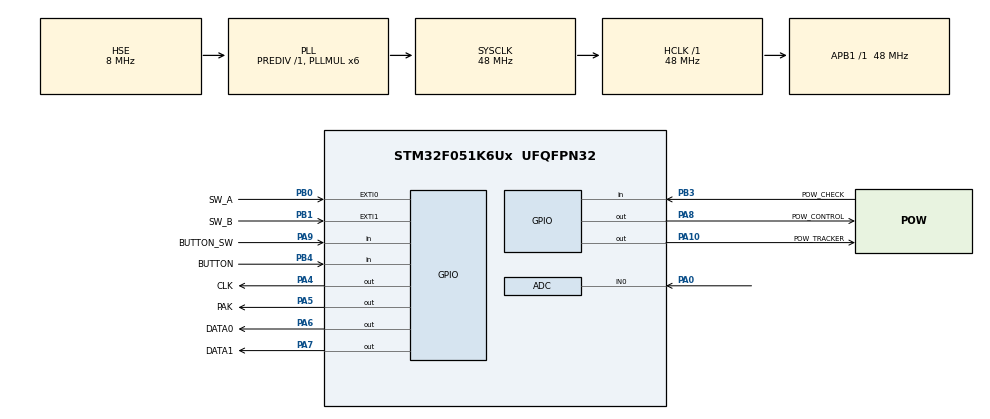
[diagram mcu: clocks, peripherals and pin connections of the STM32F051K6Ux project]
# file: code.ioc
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ADC.ClockPrescaler=ADC_CLOCK_SYNC_PCLK_DIV4
ADC.DMAContinuousRequests=DISABLE
ADC.ExternalTrigConv=ADC_EXTERNALTRIGCONV_T1_TRGO
ADC.Resolution=ADC_RESOLUTION_8B
ADC.SamplingTime=ADC_SAMPLETIME_239CYCLES_5
Mcu.Family=STM32F0
Mcu.Name=STM32F051K6Ux
Mcu.Package=UFQFPN32
NVIC.ADC1_COMP_IRQn=true\:0\:0\:false\:false\:true\:true\:true
NVIC.EXTI0_1_IRQn=true\:0\:0\:false\:false\:true\:true\:true
NVIC.TIM6_DAC_IRQn=true\:0\:0\:false\:false\:true\:true\:true
PA0.Mode=IN0
PA0.Signal=ADC_IN0
PA10.GPIO_Label=POW_TRACKER
PA10.GPIO_ModeDefaultOutputPP=GPIO_MODE_OUTPUT_PP
PA10.GPIO_PuPd=GPIO_NOPULL
PA10.GPIO_Speed=GPIO_SPEED_FREQ_LOW
PA10.PinState=GPIO_PIN_RESET
PA10.Signal=GPIO_Output
PA4.GPIO_Label=CLK
PA4.GPIO_ModeDefaultOutputPP=GPIO_MODE_OUTPUT_OD
PA4.GPIO_PuPd=GPIO_NOPULL
PA4.GPIO_Speed=GPIO_SPEED_FREQ_LOW
PA4.PinState=GPIO_PIN_RESET
PA4.Signal=GPIO_Output
PA5.GPIO_Label=PAK
PA5.GPIO_ModeDefaultOutputPP=GPIO_MODE_OUTPUT_OD
PA5.GPIO_PuPd=GPIO_NOPULL
PA5.GPIO_Speed=GPIO_SPEED_FREQ_LOW
PA5.PinState=GPIO_PIN_RESET
PA5.Signal=GPIO_Output
PA6.GPIO_Label=DATA0
PA6.GPIO_ModeDefaultOutputPP=GPIO_MODE_OUTPUT_OD
PA6.GPIO_PuPd=GPIO_NOPULL
PA6.GPIO_Speed=GPIO_SPEED_FREQ_LOW
PA6.PinState=GPIO_PIN_RESET
PA6.Signal=GPIO_Output
PA7.GPIO_Label=DATA1
PA7.GPIO_ModeDefaultOutputPP=GPIO_MODE_OUTPUT_OD
PA7.GPIO_PuPd=GPIO_NOPULL
PA7.GPIO_Speed=GPIO_SPEED_FREQ_LOW
PA7.PinState=GPIO_PIN_RESET
PA7.Signal=GPIO_Output
PA8.GPIO_Label=POW_CONTROL
PA8.GPIO_ModeDefaultOutputPP=GPIO_MODE_OUTPUT_PP
PA8.GPIO_PuPd=GPIO_NOPULL
PA8.GPIO_Speed=GPIO_SPEED_FREQ_LOW
PA8.PinState=GPIO_PIN_RESET
PA8.Signal=GPIO_Output
PA9.GPIO_Label=BUTTON_SW
PA9.GPIO_PuPd=GPIO_PULLDOWN
PA9.Signal=GPIO_Input
PB0.GPIO_Label=SW_A
PB0.GPIO_ModeDefaultEXTI=GPIO_MODE_IT_RISING_FALLING
PB0.GPIO_PuPd=GPIO_NOPULL
PB0.Signal=GPXTI0
PB1.GPIO_Label=SW_B
PB1.GPIO_ModeDefaultEXTI=GPIO_MODE_IT_RISING_FALLING
PB1.GPIO_PuPd=GPIO_NOPULL
PB1.Signal=GPXTI1
PB3.GPIO_Label=POW_CHECK
PB3.GPIO_Mode=GPIO_MODE_INPUT
PB3.GPIO_PuPd=GPIO_NOPULL
PB3.Signal=GPIO_Input
PB4.GPIO_Label=BUTTON
PB4.GPIO_Mode=GPIO_MODE_INPUT
PB4.GPIO_PuPd=GPIO_PULLDOWN
PB4.Signal=GPIO_Input
PF0-OSC_IN.Mode=HSE-External-Oscillator
PF0-OSC_IN.Signal=RCC_OSC_IN
PF1-OSC_OUT.Mode=HSE-External-Oscillator
PF1-OSC_OUT.Signal=RCC_OSC_OUT
ProjectManager.HeapSize=0x200
ProjectManager.StackSize=0x400
ProjectManager.TargetToolchain=MDK-ARM V5
RCC.AHBFreq_Value=48000000
RCC.APB1Freq_Value=48000000
RCC.APB1TimFreq_Value=48000000
RCC.HCLKFreq_Value=48000000
RCC.PLLMUL=RCC_PLL_MUL6
RCC.PLLSourceVirtual=RCC_PLLSOURCE_HSE
RCC.SYSCLKFreq_VALUE=48000000
RCC.SYSCLKSource=RCC_SYSCLKSOURCE_PLLCLK
TIM1.AutoReloadPreload=TIM_AUTORELOAD_PRELOAD_ENABLE
TIM1.Period=999
TIM1.Prescaler=48
TIM1.TIM_MasterOutputTrigger=TIM_TRGO_UPDATE
TIM6.AutoReloadPreload=TIM_AUTORELOAD_PRELOAD_ENABLE
TIM6.Period=9999
TIM6.Prescaler=4800
TIM6.TIM_MasterOutputTrigger=TIM_TRGO_RESET
VP_TIM1_VS_ClockSourceINT.Mode=Internal
VP_TIM6_VS_ClockSourceINT.Mode=Enable_Timer
board=custom

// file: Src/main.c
/* USER CODE BEGIN Header */
/**
  ******************************************************************************
  * @file           : main.c
  * @brief          : Main program body
  ******************************************************************************
  * @attention
  *
  * <h2><center>&copy; Copyright (c) 2019 STMicroelectronics.
  * All rights reserved.</center></h2>
  *
  * This software component is licensed by ST under BSD 3-Clause license,
  * the "License"; You may not use this file except in compliance with the
  * License. You may obtain a copy of the License at:
  *                        opensource.org/licenses/BSD-3-Clause
  *
  ******************************************************************************
  */
/* USER CODE END Header */

#include "main.h"

ADC_HandleTypeDef hadc;

TIM_HandleTypeDef htim1;
TIM_HandleTypeDef htim6;

void SystemClock_Config(void);
static void MX_GPIO_Init(void);
static void MX_ADC_Init(void);
static void MX_TIM1_Init(void);
static void MX_TIM6_Init(void);

/* USER CODE BEGIN 0 */
unsigned char adc_value;
unsigned char adc_sw;
char sw_value;
unsigned char sw_sw;
int count = 0;
/* USER CODE END 0 */

int main(void)
{
  /* USER CODE BEGIN 1 */
	sw_value = 0;
  /* USER CODE END 1 */

  /* MCU Configuration--------------------------------------------------------*/

  /* Reset of all peripherals, Initializes the Flash interface and the Systick. */
  HAL_Init();

  /* Configure the system clock */
  SystemClock_Config();

  /* Initialize all configured peripherals */
  MX_GPIO_Init();
  MX_ADC_Init();
  MX_TIM1_Init();
  MX_TIM6_Init();
  /* USER CODE BEGIN 2 */
	HAL_Delay(3000);
	HAL_GPIO_WritePin(POW_CONTROL_GPIO_Port,POW_CONTROL_Pin,1);
	HAL_GPIO_WritePin(POW_TRACKER_GPIO_Port,POW_TRACKER_Pin,1);
	HAL_GPIO_WritePin(CLK_GPIO_Port,CLK_Pin,0);
	HAL_GPIO_WritePin(PAK_GPIO_Port,PAK_Pin,0);
	HAL_GPIO_WritePin(DATA0_GPIO_Port,DATA0_Pin,0);
	HAL_GPIO_WritePin(DATA1_GPIO_Port,DATA1_Pin,0);
	HAL_TIMEx_HallSensor_Start_IT(&htim1);
	HAL_TIM_Base_Start_IT(&htim6);
	HAL_ADC_Start_IT(&hadc);
	//HAL_ADC_Start_DMA(&hadc,(unsigned int*)adc_buffer,1024);

  /* USER CODE END 2 */

  /* Infinite loop */
  /* USER CODE BEGIN WHILE */

  while (1)
  {
		if(HAL_GPIO_ReadPin(POW_CHECK_GPIO_Port,POW_CHECK_Pin) == 1)
		{
			GPIO_InitTypeDef GPIO_InitStruct = {0};
			GPIO_InitStruct.Pin = CLK_Pin;
			GPIO_InitStruct.Mode = GPIO_MODE_INPUT;
			GPIO_InitStruct.Pull = GPIO_NOPULL;
			GPIO_InitStruct.Speed = GPIO_SPEED_FREQ_LOW;
			HAL_GPIO_Init(GPIOA, &GPIO_InitStruct);
			HAL_Delay(1000);
			HAL_GPIO_WritePin(POW_TRACKER_GPIO_Port,POW_TRACKER_Pin,0);
			while(HAL_GPIO_ReadPin(POW_CHECK_GPIO_Port,POW_CHECK_Pin))
			{
				count = 0;
				HAL_Delay(100);
			}
			HAL_GPIO_WritePin(POW_TRACKER_GPIO_Port,POW_TRACKER_Pin,1);
			HAL_Delay(100);
			GPIO_InitStruct.Mode = GPIO_MODE_OUTPUT_OD;
			HAL_GPIO_Init(GPIOA, &GPIO_InitStruct);
		}

		if(adc_value > 0x5d)
			adc_sw = 0;
		else if(adc_value >0x59)
			adc_sw = 1;
		else if(adc_value > 0x52)
			adc_sw = 2;
		else
			adc_sw = 3;

		if(HAL_GPIO_ReadPin(BUTTON_GPIO_Port,BUTTON_Pin) == 1 || HAL_GPIO_ReadPin(BUTTON_SW_GPIO_Port,BUTTON_SW_Pin) == 1)
			count = 0;

		sw_sw = sw_value;

//		HAL_GPIO_WritePin(PAK_GPIO_Port,PAK_Pin,0);
//		HAL_GPIO_WritePin(CLK_GPIO_Port,CLK_Pin,1);
//		HAL_GPIO_WritePin(DATA0_GPIO_Port,DATA0_Pin,!HAL_GPIO_ReadPin(BUTTON_GPIO_Port,BUTTON_Pin));
//		HAL_GPIO_WritePin(DATA1_GPIO_Port,DATA1_Pin,!HAL_GPIO_ReadPin(BUTTON_SW_GPIO_Port,BUTTON_SW_Pin));
//		HAL_Delay(50);
//		HAL_GPIO_WritePin(PAK_GPIO_Port,PAK_Pin,1);
//		HAL_GPIO_WritePin(CLK_GPIO_Port,CLK_Pin,0);
//		HAL_Delay(50);
//		HAL_GPIO_WritePin(CLK_GPIO_Port,CLK_Pin,1);
//		HAL_GPIO_WritePin(DATA0_GPIO_Port,DATA0_Pin,!(adc_sw & 0x01));
//		HAL_GPIO_WritePin(DATA1_GPIO_Port,DATA1_Pin,!((adc_sw >> 1) & 0x01));
//		HAL_Delay(50);
//		HAL_GPIO_WritePin(CLK_GPIO_Port,CLK_Pin,0);
//		HAL_Delay(50);
//		HAL_GPIO_WritePin(CLK_GPIO_Port,CLK_Pin,1);
//		HAL_GPIO_WritePin(DATA0_GPIO_Port,DATA0_Pin,!(sw_sw & 0x01));
//		HAL_GPIO_WritePin(DATA1_GPIO_Port,DATA1_Pin,!((sw_sw >> 1) & 0x01));
//		HAL_Delay(50);
//		HAL_GPIO_WritePin(CLK_GPIO_Port,CLK_Pin,0);
//		HAL_Delay(50);
//		HAL_GPIO_WritePin(CLK_GPIO_Port,CLK_Pin,1);
//		HAL_GPIO_WritePin(DATA0_GPIO_Port,DATA0_Pin,!((sw_sw >> 2) & 0x01));
//		HAL_GPIO_WritePin(DATA1_GPIO_Port,DATA1_Pin,!((sw_sw >> 3) & 0x01));
//		HAL_Delay(50);
//		HAL_GPIO_WritePin(CLK_GPIO_Port,CLK_Pin,0);
//		HAL_Delay(50);
//		HAL_GPIO_WritePin(CLK_GPIO_Port,CLK_Pin,1);
//
//

		HAL_GPIO_WritePin(PAK_GPIO_Port,PAK_Pin,0);
		HAL_GPIO_WritePin(CLK_GPIO_Port,CLK_Pin,!HAL_GPIO_ReadPin(BUTTON_GPIO_Port,BUTTON_Pin));
		HAL_GPIO_WritePin(DATA0_GPIO_Port,DATA0_Pin,!HAL_GPIO_ReadPin(BUTTON_SW_GPIO_Port,BUTTON_SW_Pin));
		HAL_GPIO_WritePin(DATA1_GPIO_Port,DATA1_Pin,!(adc_sw & 0x01));
		HAL_Delay(80);
		HAL_GPIO_WritePin(PAK_GPIO_Port,PAK_Pin,1);
		HAL_GPIO_WritePin(CLK_GPIO_Port,CLK_Pin,!((adc_sw >> 1) & 0x01));
		HAL_GPIO_WritePin(DATA0_GPIO_Port,DATA0_Pin,!(sw_sw & 0x01));
		HAL_GPIO_WritePin(DATA1_GPIO_Port,DATA1_Pin,!((sw_sw >> 1) & 0x01));
		HAL_Delay(80);
		HAL_GPIO_WritePin(CLK_GPIO_Port,CLK_Pin,!((sw_sw >> 2) & 0x01));
		HAL_GPIO_WritePin(DATA0_GPIO_Port,DATA0_Pin,!((sw_sw >> 3) & 0x01));
		HAL_GPIO_WritePin(DATA1_GPIO_Port,DATA1_Pin,1);
		HAL_Delay(80);
		//if(HAL_GPIO_ReadPin(POW_CHECK_GPIO_Port,POW_CHECK_Pin)==1)
//		if(HAL_GPIO_ReadPin(BUTTON_GPIO_Port,BUTTON_Pin)==1)
//			HAL_GPIO_WritePin(BUTTON_LED_GPIO_Port,BUTTON_LED_Pin,1);
//		else
//			HAL_GPIO_WritePin(BUTTON_LED_GPIO_Port,BUTTON_LED_Pin,0);
    /* USER CODE END WHILE */

  }
}

void SystemClock_Config(void)
{
  RCC_OscInitTypeDef RCC_OscInitStruct = {0};
  RCC_ClkInitTypeDef RCC_ClkInitStruct = {0};

  /** Initializes the CPU, AHB and APB busses clocks
  */
  RCC_OscInitStruct.OscillatorType = RCC_OSCILLATORTYPE_HSE;
  RCC_OscInitStruct.HSEState = RCC_HSE_ON;
  RCC_OscInitStruct.PLL.PLLState = RCC_PLL_ON;
  RCC_OscInitStruct.PLL.PLLSource = RCC_PLLSOURCE_HSE;
  RCC_OscInitStruct.PLL.PLLMUL = RCC_PLL_MUL6;
  RCC_OscInitStruct.PLL.PREDIV = RCC_PREDIV_DIV1;
  if (HAL_RCC_OscConfig(&RCC_OscInitStruct) != HAL_OK)
  {
    Error_Handler();
  }
  /** Initializes the CPU, AHB and APB busses clocks
  */
  RCC_ClkInitStruct.ClockType = RCC_CLOCKTYPE_HCLK|RCC_CLOCKTYPE_SYSCLK
                              |RCC_CLOCKTYPE_PCLK1;
  RCC_ClkInitStruct.SYSCLKSource = RCC_SYSCLKSOURCE_PLLCLK;
  RCC_ClkInitStruct.AHBCLKDivider = RCC_SYSCLK_DIV1;
  RCC_ClkInitStruct.APB1CLKDivider = RCC_HCLK_DIV1;

  if (HAL_RCC_ClockConfig(&RCC_ClkInitStruct, FLASH_LATENCY_1) != HAL_OK)
  {
    Error_Handler();
  }
}

static void MX_ADC_Init(void)
{

  ADC_ChannelConfTypeDef sConfig = {0};

  /** Configure the global features of the ADC (Clock, Resolution, Data Alignment and number of conversion)
  */
  hadc.Instance = ADC1;
  hadc.Init.ClockPrescaler = ADC_CLOCK_SYNC_PCLK_DIV4;
  hadc.Init.Resolution = ADC_RESOLUTION_8B;
  hadc.Init.DataAlign = ADC_DATAALIGN_RIGHT;
  hadc.Init.ScanConvMode = ADC_SCAN_DIRECTION_FORWARD;
  hadc.Init.EOCSelection = ADC_EOC_SINGLE_CONV;
  hadc.Init.LowPowerAutoWait = DISABLE;
  hadc.Init.LowPowerAutoPowerOff = DISABLE;
  hadc.Init.ContinuousConvMode = DISABLE;
  hadc.Init.DiscontinuousConvMode = DISABLE;
  hadc.Init.ExternalTrigConv = ADC_EXTERNALTRIGCONV_T1_TRGO;
  hadc.Init.ExternalTrigConvEdge = ADC_EXTERNALTRIGCONVEDGE_RISING;
  hadc.Init.DMAContinuousRequests = DISABLE;
  hadc.Init.Overrun = ADC_OVR_DATA_PRESERVED;
  if (HAL_ADC_Init(&hadc) != HAL_OK)
  {
    Error_Handler();
  }
  /** Configure for the selected ADC regular channel to be converted.
  */
  sConfig.Channel = ADC_CHANNEL_0;
  sConfig.Rank = ADC_RANK_CHANNEL_NUMBER;
  sConfig.SamplingTime = ADC_SAMPLETIME_239CYCLES_5;
  if (HAL_ADC_ConfigChannel(&hadc, &sConfig) != HAL_OK)
  {
    Error_Handler();
  }

}

static void MX_TIM1_Init(void)
{

  TIM_ClockConfigTypeDef sClockSourceConfig = {0};
  TIM_MasterConfigTypeDef sMasterConfig = {0};

  htim1.Instance = TIM1;
  htim1.Init.Prescaler = 48;
  htim1.Init.CounterMode = TIM_COUNTERMODE_UP;
  htim1.Init.Period = 999;
  htim1.Init.ClockDivision = TIM_CLOCKDIVISION_DIV1;
  htim1.Init.RepetitionCounter = 0;
  htim1.Init.AutoReloadPreload = TIM_AUTORELOAD_PRELOAD_ENABLE;
  if (HAL_TIM_Base_Init(&htim1) != HAL_OK)
  {
    Error_Handler();
  }
  sClockSourceConfig.ClockSource = TIM_CLOCKSOURCE_INTERNAL;
  if (HAL_TIM_ConfigClockSource(&htim1, &sClockSourceConfig) != HAL_OK)
  {
    Error_Handler();
  }
  sMasterConfig.MasterOutputTrigger = TIM_TRGO_UPDATE;
  sMasterConfig.MasterSlaveMode = TIM_MASTERSLAVEMODE_DISABLE;
  if (HAL_TIMEx_MasterConfigSynchronization(&htim1, &sMasterConfig) != HAL_OK)
  {
    Error_Handler();
  }

}

static void MX_TIM6_Init(void)
{

  TIM_MasterConfigTypeDef sMasterConfig = {0};

  htim6.Instance = TIM6;
  htim6.Init.Prescaler = 4800;
  htim6.Init.CounterMode = TIM_COUNTERMODE_UP;
  htim6.Init.Period = 9999;
  htim6.Init.AutoReloadPreload = TIM_AUTORELOAD_PRELOAD_ENABLE;
  if (HAL_TIM_Base_Init(&htim6) != HAL_OK)
  {
    Error_Handler();
  }
  sMasterConfig.MasterOutputTrigger = TIM_TRGO_RESET;
  sMasterConfig.MasterSlaveMode = TIM_MASTERSLAVEMODE_DISABLE;
  if (HAL_TIMEx_MasterConfigSynchronization(&htim6, &sMasterConfig) != HAL_OK)
  {
    Error_Handler();
  }

}

static void MX_GPIO_Init(void)
{
  GPIO_InitTypeDef GPIO_InitStruct = {0};

  /* GPIO Ports Clock Enable */
  __HAL_RCC_GPIOF_CLK_ENABLE();
  __HAL_RCC_GPIOA_CLK_ENABLE();
  __HAL_RCC_GPIOB_CLK_ENABLE();

  /*Configure GPIO pin Output Level */
  HAL_GPIO_WritePin(GPIOA, CLK_Pin|PAK_Pin|DATA0_Pin|DATA1_Pin
                          |POW_CONTROL_Pin|POW_TRACKER_Pin, GPIO_PIN_RESET);

  /*Configure GPIO pins : CLK_Pin PAK_Pin DATA0_Pin DATA1_Pin */
  GPIO_InitStruct.Pin = CLK_Pin|PAK_Pin|DATA0_Pin|DATA1_Pin;
  GPIO_InitStruct.Mode = GPIO_MODE_OUTPUT_OD;
  GPIO_InitStruct.Pull = GPIO_NOPULL;
  GPIO_InitStruct.Speed = GPIO_SPEED_FREQ_LOW;
  HAL_GPIO_Init(GPIOA, &GPIO_InitStruct);

  /*Configure GPIO pins : SW_A_Pin SW_B_Pin */
  GPIO_InitStruct.Pin = SW_A_Pin|SW_B_Pin;
  GPIO_InitStruct.Mode = GPIO_MODE_IT_RISING_FALLING;
  GPIO_InitStruct.Pull = GPIO_NOPULL;
  HAL_GPIO_Init(GPIOB, &GPIO_InitStruct);

  /*Configure GPIO pins : POW_CONTROL_Pin POW_TRACKER_Pin */
  GPIO_InitStruct.Pin = POW_CONTROL_Pin|POW_TRACKER_Pin;
  GPIO_InitStruct.Mode = GPIO_MODE_OUTPUT_PP;
  GPIO_InitStruct.Pull = GPIO_NOPULL;
  GPIO_InitStruct.Speed = GPIO_SPEED_FREQ_LOW;
  HAL_GPIO_Init(GPIOA, &GPIO_InitStruct);

  /*Configure GPIO pin : BUTTON_SW_Pin */
  GPIO_InitStruct.Pin = BUTTON_SW_Pin;
  GPIO_InitStruct.Mode = GPIO_MODE_INPUT;
  GPIO_InitStruct.Pull = GPIO_PULLDOWN;
  HAL_GPIO_Init(BUTTON_SW_GPIO_Port, &GPIO_InitStruct);

  /*Configure GPIO pin : POW_CHECK_Pin */
  GPIO_InitStruct.Pin = POW_CHECK_Pin;
  GPIO_InitStruct.Mode = GPIO_MODE_INPUT;
  GPIO_InitStruct.Pull = GPIO_NOPULL;
  HAL_GPIO_Init(POW_CHECK_GPIO_Port, &GPIO_InitStruct);

  /*Configure GPIO pin : BUTTON_Pin */
  GPIO_InitStruct.Pin = BUTTON_Pin;
  GPIO_InitStruct.Mode = GPIO_MODE_INPUT;
  GPIO_InitStruct.Pull = GPIO_PULLDOWN;
  HAL_GPIO_Init(BUTTON_GPIO_Port, &GPIO_InitStruct);

  /* EXTI interrupt init*/
  HAL_NVIC_SetPriority(EXTI0_1_IRQn, 0, 0);
  HAL_NVIC_EnableIRQ(EXTI0_1_IRQn);

}

void Error_Handler(void)
{
}

/************************ (C) COPYRIGHT STMicroelectronics *****END OF FILE****/
